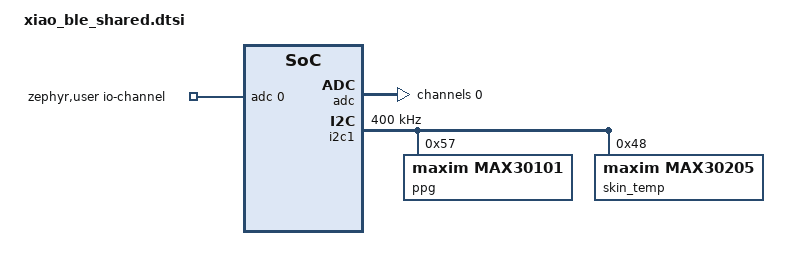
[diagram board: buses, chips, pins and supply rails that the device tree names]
/* Devicetree shared by every XIAO nRF52840 build (plain and Sense).
 * Edit pins and sensors here. The per-board overlays only #include this
 * file and add what is specific to that board:
 *   xiao_ble_nrf52840.overlay        -> west build -b xiao_ble/nrf52840
 *   xiao_ble_nrf52840_sense.overlay  -> west build -b xiao_ble/nrf52840/sense
 */

#include <zephyr/dt-bindings/adc/adc.h>
#include <zephyr/dt-bindings/adc/nrf-saadc.h>
#include <zephyr/dt-bindings/i2c/i2c.h>

/ {
    zephyr,user {
        io-channels = <&adc 0>;
    };
};

&adc {
    status = "okay";
    #address-cells = <1>;
    #size-cells = <0>;

    channel@0 {
        reg = <0>;
        zephyr,gain = "ADC_GAIN_1_6";
        zephyr,reference = "ADC_REF_INTERNAL";
        zephyr,acquisition-time =
            <ADC_ACQ_TIME(ADC_ACQ_TIME_MICROSECONDS, 40)>;
        zephyr,input-positive = <NRF_SAADC_AIN0>;
        zephyr,resolution = <12>;
    };
};

&i2c1 {
    status = "okay";
    clock-frequency = <I2C_BITRATE_FAST>;   /* 400 kHz, like I2C_SPEED_FAST on the ESP32 */

    /* Same setup as the ESP32 firmware (hr-max30101-ble/src/hr_dual_channel_patched_6.cpp):
     * setup(<current>, 4, 1, 400, 411, 4096), one LED in slot 1, multi-LED mode.
     * 400 samples/s with 4x on-chip averaging = 100 samples/s into the FIFO.
     *
     * The heart-rate code reads whichever LED is in slot 1 (1 red, 2 IR, 3 green)
     * and its current from led-pa, so switching LEDs is just these two lines
     * (or at runtime from the HR testing page's LED colour menu).
     *
     * Green, full current: on the wrist with the sealed harness (2026-11-14) it gave
     * the strongest pulse, AC/DC ~0.08% (0.04-0.13) vs IR ~0.04% and red ~0.01%.
     * Even at 0xFF it only reaches ~19% of the ADC range, so there is no headroom. */
    ppg: max30101@57 {
        compatible = "maxim,max30101";
        reg = <0x57>;
        acq-mode = "multi-led";
        led-slot = <3 2 0 0>;     /* slot 1 = green (heart rate), slot 2 = IR (streamed only) */
        led-pa = [00 1F FF];      /* red, IR, green: IR 0x1F (~44% of range on the wrist), green 0xFF ~50 mA */
        smp-ave = <4>;
        smp-sr = <400>;
        led-pw = <411>;           /* 411 us, 18-bit */
        adc-rge = <4096>;
        fifo-rollover-en;
    };

    skin_temp: max30205@48 {
        compatible = "maxim,max30205";
        reg = <0x48>;
    };
};

/* Internal pull-ups on SDA/SCL, like Arduino Wire on the ESP32 does.
 * Needed if the sensor board has no (or weak) pull-ups of its own. */
&i2c1_default {
    group1 {
        bias-pull-up;
    };
};
